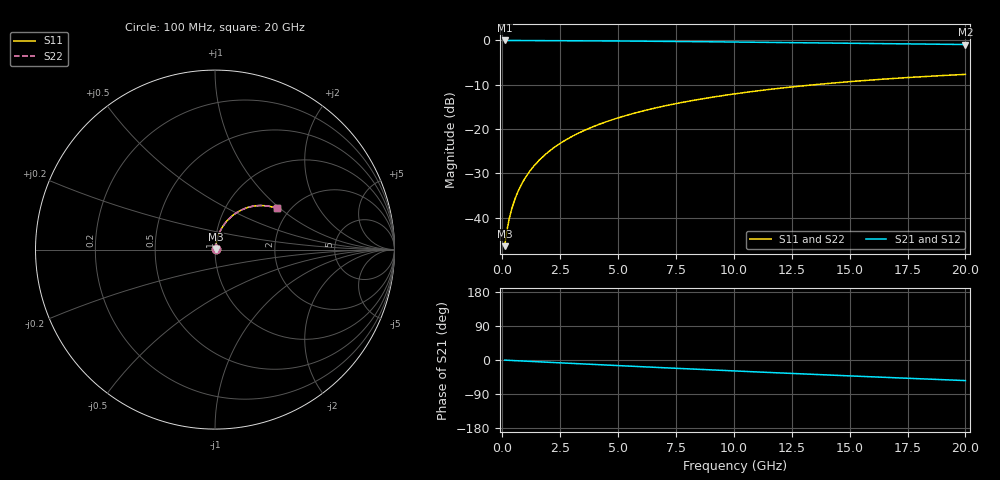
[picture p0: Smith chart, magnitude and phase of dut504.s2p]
! Touchstone file exported from HFSS 2026.1.0
!  File:  C:/ffzhzh/LocalFiles/Ansys_Project_Files/temp_train_BSMRDL_504_1783014258_53980.aedt
!  Generated:  01:45:54 AM Jul  3, 2026
!  Design:  BSMRDL
!  Project:  temp_train_BSMRDL_504_1783014258_53980
! Variables:
!  h_bsmrdl = 4.44um
!  h_ox = 20um
!  h_rdl = 5um
!  h_sub = 80um
!  h_tmrdl = 5um
!  h_tsv = 80um
!  h_via = 3um
!  l_bsmrdl = 871.62um
!  l_sub = 1271.62um
!  l_tmrdl = 200um
!  m_sub = 200um
!  pitch = 41.28um
!  r_tsv = 6um
!  s_tmrdl = 10um
!  w_bsmrdl = 20.1um
!  w_sub = 500um
!  w_tmrdl = 12um
!  x_tsv_center1 = 206um
!  x_tsv_center2 = 1097.72um
!  x_tsv_center3 = 1309.72um
!  x_tsv_center4 = 2201.44um
!  x_tsv_center5 = 2413.44um
!  x_tsv_center6 = 3305.16um
# GHz S MA R 50.000000
! Terminal data exported
! Port[1] = BSM_RDL1_1_T1
! Port[2] = BSM_RDL1_1_T2
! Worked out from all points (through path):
!   200 points, 100 MHz to 20 GHz, reference 50 ohm
!   highest |S21| = -0.03 dB at 100 MHz (marker M1); lowest = -0.9 dB at 20 GHz (marker M2)
!   group delay of S21, straight-line fit = 7.54 ps
!   lowest |S11| = -46.5 dB at 100 MHz (marker M3), VSWR 1.01, Z = 50.4 + j0.308 ohm
!   |S11| at or under -10 dB: start of sweep to 13.52 GHz
!   |S22| runs from -46.5 to -7.7 dB; largest |S21 - S12| = 1.5e-14
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0.1  0.004752 40.0  0.9964 -0.3  0.9964 -0.3  0.004752 40.0
! Gamma 0 0 0 0
! Port Impedance 50 0 50 0
0.2  0.007128 56.8  0.9961 -0.6  0.9961 -0.6  0.007128 56.8
0.3  0.00969 64.4  0.9959 -0.9  0.9959 -0.9  0.00969 64.4
0.4  0.01229 68.8  0.9957 -1.2  0.9957 -1.2  0.01229 68.8
0.5  0.01491 71.7  0.9956 -1.5  0.9956 -1.5  0.01491 71.7
0.6  0.01755 73.7  0.9955 -1.8  0.9955 -1.8  0.01755 73.7
0.8  0.02289 76.1  0.9952 -2.4  0.9952 -2.4  0.02289 76.1
1.1  0.03098 77.9  0.9948 -3.3  0.9948 -3.3  0.03098 77.9
1.3  0.0364 78.4  0.9945 -3.9  0.9945 -3.9  0.0364 78.4
1.6  0.04452 78.7  0.994 -4.8  0.994 -4.8  0.04452 78.7
2.1  0.05802 78.3  0.9929 -6.3  0.9929 -6.3  0.05802 78.3
2.7  0.07405 77.3  0.9913 -8.1  0.9913 -8.1  0.07405 77.3
3.5  0.09508 75.5  0.9888 -10.5  0.9888 -10.5  0.09508 75.5
4.2  0.1131 73.8  0.9862 -12.5  0.9862 -12.5  0.1131 73.8
5  0.1333 71.7  0.9829 -14.8  0.9829 -14.8  0.1333 71.7
5.9  0.1554 69.3  0.9788 -17.4  0.9788 -17.4  0.1554 69.3
6.8  0.1768 66.9  0.9745 -19.9  0.9745 -19.9  0.1768 66.9
8.3  0.2112 62.9  0.9666 -24.1  0.9666 -24.1  0.2112 62.9
10.1  0.25 58.2  0.9564 -29.1  0.9564 -29.1  0.25 58.2
13.4  0.314 49.8  0.9363 -37.8  0.9363 -37.8  0.3141 49.8
16.7  0.3683 41.7  0.9159 -46.3  0.9159 -46.3  0.3683 41.7
20  0.4127 33.8  0.8967 -54.3  0.8967 -54.3  0.4127 33.8
